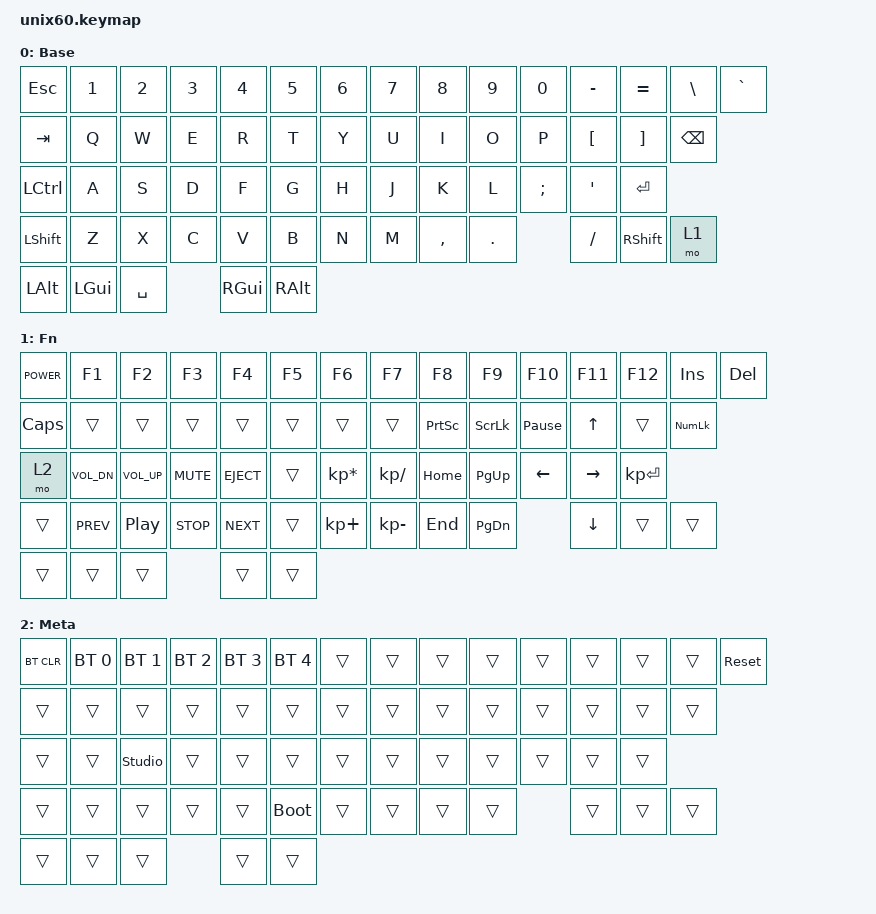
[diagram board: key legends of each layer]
/*
 * Copyright (c) 2026 The ZMK Contributors
 *
 * SPDX-License-Identifier: MIT
 *
 * Ported 1:1 from unix60.json (QMK Configurator export, LAYOUT_60_hhkb).
 * The only additions are the Fn+Ctrl layer hold, which occupies a slot the
 * export left as KC_TRNS, and the Meta layer itself. Everything that takes
 * the board out of normal operation lives on that layer.
 */

#include <behaviors.dtsi>
#include <dt-bindings/zmk/keys.h>
#include <dt-bindings/zmk/bt.h>

/ {
    keymap {
        compatible = "zmk,keymap";

        default_layer {
            display-name = "Base";
// ---------------------------------------------------------------------------------------------
// | ESC |  1  |  2  |  3  |  4  |  5  |  6  |  7  |  8  |  9  |  0  |  -  |  =  |  \  |  `  |
// |  TAB   |  Q  |  W  |  E  |  R  |  T  |  Y  |  U  |  I  |  O  |  P  |  [  |  ]  |  BSPC  |
// |  CTRL    |  A  |  S  |  D  |  F  |  G  |  H  |  J  |  K  |  L  |  ;  |  '  |   ENTER    |
// |   SHIFT     |  Z  |  X  |  C  |  V  |  B  |  N  |  M  |  ,  |  .  |  /  | SHIFT  |  FN  |
// |        | ALT |  GUI   |               SPACE               |   GUI  | ALT |        |
// ---------------------------------------------------------------------------------------------
            bindings = <
&kp ESC   &kp N1 &kp N2 &kp N3 &kp N4 &kp N5 &kp N6 &kp N7 &kp N8 &kp N9 &kp N0 &kp MINUS &kp EQUAL &kp BSLH &kp GRAVE
&kp TAB   &kp Q  &kp W  &kp E  &kp R  &kp T  &kp Y  &kp U  &kp I  &kp O  &kp P  &kp LBKT  &kp RBKT  &kp BSPC
&kp LCTRL &kp A  &kp S  &kp D  &kp F  &kp G  &kp H  &kp J  &kp K  &kp L  &kp SEMI &kp SQT &kp RET
&kp LSHFT &kp Z  &kp X  &kp C  &kp V  &kp B  &kp N  &kp M  &kp COMMA &kp DOT &kp FSLH &kp RSHFT &mo 1
&kp LALT  &kp LGUI &kp SPACE &kp RGUI &kp RALT
            >;
        };

        fn_layer {
            display-name = "Fn";
// ---------------------------------------------------------------------------------------------
// | PWR | F1  | F2  | F3  | F4  | F5  | F6  | F7  | F8  | F9  | F10 | F11 | F12 | INS | DEL |
// |  CAPS  |     |     |     |     |     |     |     | PSCR| SCRL|PAUSE|  UP |     |  NUM   |
// |          | VOLD| VOLU| MUTE| EJCT|     | KP* | KP/ | HOME| PGUP| LEFT|RIGHT|   KPENT    |
// |             |MPREV|MPLAY|MSTOP|MNEXT|     | KP+ | KP- | END | PGDN| DOWN|        |      |
// |        |     |        |                                   |        |     |        |
// ---------------------------------------------------------------------------------------------
            bindings = <
&kp K_POWER &kp F1 &kp F2 &kp F3 &kp F4 &kp F5 &kp F6 &kp F7 &kp F8 &kp F9 &kp F10 &kp F11 &kp F12 &kp INS &kp DEL
&kp CAPS    &trans &trans &trans &trans &trans &trans &trans &kp PSCRN &kp SLCK &kp PAUSE_BREAK &kp UP &trans &kp KP_NUM
&mo 2       &kp C_VOL_DN &kp C_VOL_UP &kp C_MUTE &kp C_EJECT &trans &kp KP_MULTIPLY &kp KP_DIVIDE &kp HOME &kp PG_UP &kp LEFT &kp RIGHT &kp KP_ENTER
&trans      &kp C_PREV &kp C_PP &kp C_STOP &kp C_NEXT &trans &kp KP_PLUS &kp KP_MINUS &kp END &kp PG_DN &kp DOWN &trans &trans
&trans      &trans &trans &trans &trans
            >;
        };

        meta_layer {
            display-name = "Meta";
// Held with Fn + Ctrl. Bluetooth management plus the two keys that take the
// board out of normal operation, kept off the Fn layer so a stray Fn press
// cannot drop a pairing, reboot into the bootloader or unlock Studio.
// ---------------------------------------------------------------------------------------------
// |BTCLR| BT0 | BT1 | BT2 | BT3 | BT4 |     |     |     |     |     |     |     |     |RESET|
// |        |     |     |     |     |     |     |     |     |     |     |     |     |        |
// |          |     |STUDO|     |     |     |     |     |     |     |     |     |            |
// |             |     |     |     |     |BOOT |     |     |     |     |     |        |      |
// |        |     |        |                                   |        |     |        |
// ---------------------------------------------------------------------------------------------
            bindings = <
&bt BT_CLR &bt BT_SEL 0 &bt BT_SEL 1 &bt BT_SEL 2 &bt BT_SEL 3 &bt BT_SEL 4 &trans &trans &trans &trans &trans &trans &trans &trans &sys_reset
&trans &trans &trans &trans &trans &trans &trans &trans &trans &trans &trans &trans &trans &trans
&trans &trans &studio_unlock &trans &trans &trans &trans &trans &trans &trans &trans &trans &trans
&trans &trans &trans &trans &trans &bootloader &trans &trans &trans &trans &trans &trans &trans
&trans &trans &trans &trans &trans
            >;
        };
    };
};
